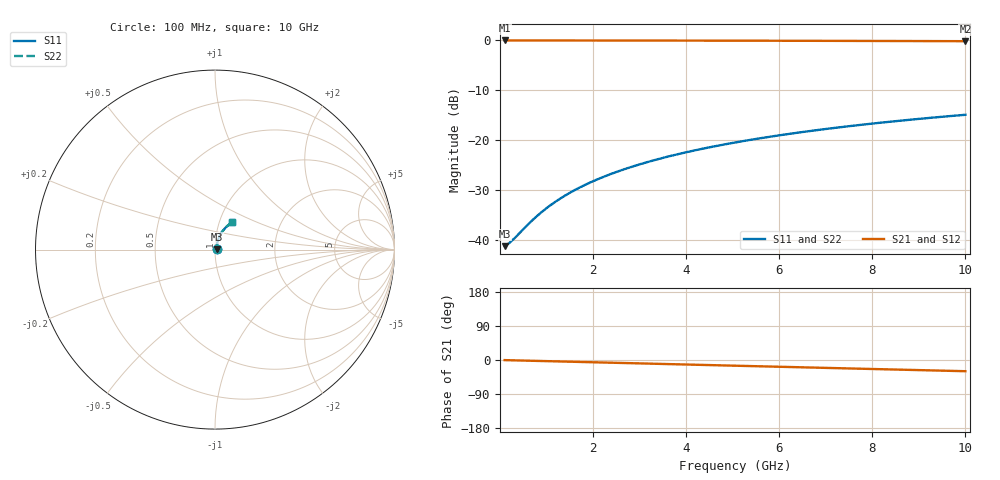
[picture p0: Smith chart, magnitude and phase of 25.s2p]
# Hz S RI R 50.00
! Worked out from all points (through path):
!   100 points, 100 MHz to 10 GHz, reference 50 ohm
!   highest |S21| = -0.07 dB at 100 MHz (marker M1); lowest = -0.2 dB at 10 GHz (marker M2)
!   group delay of S21, straight-line fit = 8.22 ps
!   lowest |S11| = -41.2 dB at 100 MHz (marker M3), VSWR 1.02, Z = 50.9 + j0.188 ohm
!   |S11| at or under -10 dB: start of sweep to end of sweep
!   |S22| runs from -41.2 to -14.9 dB; largest |S21 - S12| = 0
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1e8  0.00848 0.00185  0.9915 -0.00516  0.9915 -0.00516  0.00848 0.00185
2e8  0.00856 0.00369  0.9914 -0.0103  0.9914 -0.0103  0.00856 0.00369
3e8  0.00865 0.00554  0.9913 -0.0155  0.9913 -0.0155  0.00865 0.00554
7e8  0.00914 0.0129  0.9906 -0.0361  0.9906 -0.0361  0.00914 0.0129
8e8  0.0093 0.0147  0.9903 -0.0413  0.9903 -0.0413  0.0093 0.0147
1e9  0.00968 0.0184  0.9897 -0.0516  0.9897 -0.0516  0.00968 0.0184
1.2e9  0.0101 0.0221  0.989 -0.0619  0.989 -0.0619  0.0101 0.0221
1.4e9  0.0107 0.0257  0.9882 -0.0722  0.9882 -0.0722  0.0107 0.0257
1.6e9  0.0113 0.0294  0.9873 -0.0824  0.9873 -0.0824  0.0113 0.0294
1.8e9  0.0119 0.033  0.9862 -0.0927  0.9862 -0.0927  0.0119 0.033
2.1e9  0.0131 0.0384  0.9844 -0.1081  0.9844 -0.1081  0.0131 0.0384
2.5e9  0.0149 0.0455  0.9816 -0.1285  0.9816 -0.1285  0.0149 0.0455
2.9e9  0.017 0.0526  0.9783 -0.1488  0.9783 -0.1488  0.017 0.0526
3.4e9  0.02 0.0613  0.9735 -0.174  0.9735 -0.174  0.02 0.0613
3.8e9  0.0227 0.0681  0.9692 -0.1941  0.9692 -0.1941  0.0227 0.0681
4.2e9  0.0257 0.0748  0.9644 -0.214  0.9644 -0.214  0.0257 0.0748
5.1e9  0.0335 0.0893  0.9519 -0.2583  0.9519 -0.2583  0.0335 0.0893
5.9e9  0.0414 0.1015  0.939 -0.297  0.939 -0.297  0.0414 0.1015
6.7e9  0.0504 0.113  0.9244 -0.3348  0.9244 -0.3348  0.0504 0.113
7.5e9  0.0602 0.1237  0.9082 -0.3718  0.9082 -0.3718  0.0602 0.1237
8.4e9  0.0722 0.1347  0.8881 -0.4123  0.8881 -0.4123  0.0722 0.1347
1e10  0.0958 0.1511  0.8478 -0.481  0.8478 -0.481  0.0958 0.1511
